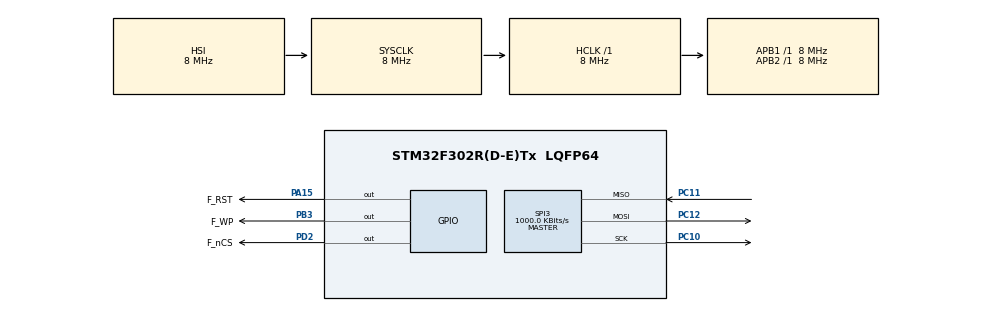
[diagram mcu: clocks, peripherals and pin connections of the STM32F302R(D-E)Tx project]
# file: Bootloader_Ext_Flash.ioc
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Mcu.Family=STM32F3
Mcu.Name=STM32F302R(D-E)Tx
Mcu.Package=LQFP64
NVIC.PriorityGroup=NVIC_PRIORITYGROUP_4
PA15.GPIO_Label=F_RST
PA15.Signal=GPIO_Output
PB3.GPIO_Label=F_WP
PB3.Signal=GPIO_Output
PC10.Mode=Full_Duplex_Master
PC10.Signal=SPI3_SCK
PC11.Mode=Full_Duplex_Master
PC11.Signal=SPI3_MISO
PC12.Mode=Full_Duplex_Master
PC12.Signal=SPI3_MOSI
PD2.GPIO_Label=F_nCS
PD2.Signal=GPIO_Output
ProjectManager.HeapSize=0x200
ProjectManager.StackSize=0x800
ProjectManager.TargetToolchain=STM32CubeIDE
RCC.AHBFreq_Value=8000000
RCC.APB1Freq_Value=8000000
RCC.APB2Freq_Value=8000000
RCC.CortexFreq_Value=8000000
RCC.HSE_VALUE=8000000
RCC.HSI_VALUE=8000000
RCC.LSE_VALUE=32768
RCC.SYSCLKFreq_VALUE=8000000
RCC.USBFreq_Value=16000000
SPI3.BaudRatePrescaler=SPI_BAUDRATEPRESCALER_8
SPI3.CalculateBaudRate=1000.0 KBits/s
SPI3.DataSize=SPI_DATASIZE_8BIT
SPI3.Direction=SPI_DIRECTION_2LINES
SPI3.Mode=SPI_MODE_MASTER
SPI3.VirtualType=VM_MASTER
board=custom

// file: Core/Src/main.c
/* USER CODE BEGIN Header */
/**
  ******************************************************************************
  * @file           : main.c
  * @brief          : Main program body
  ******************************************************************************
  * @attention
  *
  * Copyright (c) 2024 STMicroelectronics.
  * All rights reserved.
  *
  * This software is licensed under terms that can be found in the LICENSE file
  * in the root directory of this software component.
  * If no LICENSE file comes with this software, it is provided AS-IS.
  *
  ******************************************************************************
  */
/* USER CODE END Header */
#include "main.h"
#include "ext_flash_w25q64.h"
#include "int_flash.h"

SPI_HandleTypeDef hspi3;

/* USER CODE BEGIN PV */
unsigned char userData[] ={
		 0x48,0x45,0x4C,0xAA,0x5F,0x57,0x4F,0x52,0x4C,0x44,0xFF,0x84,0x0A
		,0x48,0x45,0x4C,0x4C,0x5F,0x57,0x4F,0x52,0x4C,0x44,0x00,0x83,0x0A
		,0x48,0x45,0x4C,0x4C,0x5F,0x57,0x4F,0x52,0x4C,0x44,0x00,0x83,0x0A
		,0x48,0x45,0x4C,0x4C,0x5F,0x57,0x4F,0x52,0x4C,0x44,0x01,0x84,0x0A
		,0x48,0x45,0x4C,0x4C,0x5F,0x57,0x4F,0x52,0x4C,0x44,0x00,0x83,0x0A
		,0x48,0x45,0x4C,0x4C,0x5F,0x57,0x4F,0x52,0x4C,0x44,0x00,0x82,0x0A
		,0x48,0x45,0x4C,0x4C,0x5F,0x57,0x4F,0x52,0x4C,0x44,0x01,0x83,0x0A
		,0x48,0x45,0x4C,0x4C,0x5F,0x57,0x4F,0x52,0x4C,0x44,0xFF,0x82,0x0A
		,0x48,0x45,0x4C,0x4C,0x5F,0x57,0x4F,0x52,0x4C,0x44,0x00,0x83,0x0A
		,0x48,0x45,0x4C,0x4C,0x5F,0x57,0x4F,0x52,0x4C,0x44,0x00,0x82,0x0A
		,0x48,0x45,0x4C,0x4C,0x5F,0x57,0x4F,0x52,0x4C,0x44,0x01,0x81,0x0A
		,0x48,0x45,0x4C,0x4C,0x5F,0x57,0x4F,0x52,0x4C,0x44,0x01,0x82,0x0A
		,0x48,0x45,0x4C,0x4C,0x5F,0x57,0x4F,0x52,0x4C,0x44,0x01,0x83,0x0A
		,0x48,0x45,0x4C,0x4C,0x5F,0x57,0x4F,0x52,0x4C,0x44,0x01,0x82,0x0A
		,0x48,0x45,0x4C,0x4C,0x5F,0x57,0x4F,0x52,0x4C,0x44,0x00,0x83,0x0A
		,0x48,0x45,0x4C,0x4C,0x5F,0x57,0x4F,0x52,0x4C,0x44,0x01,0x83,0x0A
		,0x48,0x45,0x4C,0x4C,0x5F,0x57,0x4F,0x52,0x4C,0x44,0xFF,0x84,0x0A
		,0x48,0x45,0x4C,0x4C,0x5F,0x57,0x4F,0x52,0x4C,0x44,0x00,0x83,0x0A
		,0x48,0x45,0x4C,0x4C,0x5F,0x57,0x4F,0x52,0x4C,0x44,0x00,0x83,0x0A
		,0x48,0x45,0x4C,0x4C,0x5F,0x57,0x4F,0x52,0x4C,
};
//uint32_t 	readData[64] = {0};
//uint8_t 	readWord[4];

/* USER CODE END PV */

void SystemClock_Config(void);
static void MX_GPIO_Init(void);
static void MX_SPI3_Init(void);
/* USER CODE BEGIN PFP */
static void goto_application( void );
/* USER CODE END PFP */

/* USER CODE BEGIN 0 */
//void Init_SPI(void){
//	RCC->AHBENR = (0x0F << 20);			// ENABLE IOPORTS A,B,C,D
//	RCC->APB1ENR |= (1 << 15);			// ENABLE SPI3 MODULE CLOCK
//}
//
//void setPinMode(void){
//	// RESET PIN MODES
//	GPIOA->MODER &=  ~(3u << (2*15));	// CLEAR PA15
//	GPIOB->MODER &=  ~(3u << (2*3));	// CLEAR PB3
//	GPIOC->MODER &= ~((3u << (2*10))	// CLEAR PC10
//					 |(3u << (2*11))	// CLEAR PC11
//					 |(3u << (2*12)));	// CLEAR PC12
//	GPIOD->MODER &=  ~(3u << (2*2));	// CLEAR PD2
//
//	// CONFIGURE PIN MODES
//	GPIOA->MODER |=  (1u << (2*15));	// SET PA15 AS GPIO (F_RST)
//	GPIOB->MODER |=  (1u << (2*3));		// SET PB3 AS GPIO 	(F_WP)
//	GPIOC->MODER |= ((2u << (2*10))		// SET PC10 TO AF 	(CLK)
//					|(2u << (2*11))		// SET PC11 TO AF 	(MOSI)
//					|(2u << (2*12)));	// SET PC12 TO AF 	(MISO)
//	GPIOD->MODER |=  (1u << (2*2));		// SET PD2 AS GPIO 	(F_nCS)
//}
unsigned char deviceIdRxData[2];

void convertToWord(uint8_t* readWordPtr,uint32_t* readWordFromExtFlashPtr);
void convertToWord(uint8_t* readWordPtr,uint32_t* readWordFromExtFlashPtr){
	for(uint8_t i = 4; i != 0; i--){
		*readWordFromExtFlashPtr = (*readWordFromExtFlashPtr<<8) | readWordPtr[i-1];
	}
}

/* USER CODE END 0 */

int main(void)
{
  /* USER CODE BEGIN 1 */
	uint32_t readData[64] 			= {0};
	uint32_t extFlashReadAddress 	= FLASH_PAGE0_BASE_ADDRESS;
	uint32_t intFlashWriteAddress 	= 0x50000;
	uint32_t extFlashWriteAddress 	= 0x0;
	uint8_t  DataFlagReadBack 		= 0;
	uint8_t device_Id[2];
//	unsigned char statusByte=0;
//	unsigned char readByte = 0;
  /* USER CODE END 1 */

  /* MCU Configuration--------------------------------------------------------*/

  /* Reset of all peripherals, Initializes the Flash interface and the Systick. */
  HAL_Init();

  /* Configure the system clock */
  SystemClock_Config();

  /* Initialize all configured peripherals */
  MX_GPIO_Init();
  MX_SPI3_Init();
  /* USER CODE BEGIN 2 */

//  HAL_Delay(10000); // Just wait 10 secbefore proceeding to Bootloader

  extFlashInit();

  SPI_FLASH_getDeviceId(device_Id);

  extFlashSendCommand(ENABLE_RESET);
  extFlashSendCommand(RESET_DEVICE);
  extFlashSendCommand(GLOBAL_UNLOCK);
  /* USER CODE END 2 */

  /* Infinite loop */
  /* USER CODE BEGIN WHILE */
  extFlashErase(BLOCK_ERASE_64KB, FLASH_PAGE0_BASE_ADDRESS);
  extFlashErase(BLOCK_ERASE_64KB, FLASH_PAGE1_BASE_ADDRESS);
  extFlashErase(SECTOR_ERASE_4KB, FLASH_FLAG_SAVE_ADDRESS);

  extFlashWriteAddress = FLASH_PAGE0_BASE_ADDRESS;

  for(uint8_t i = 0; i < 4; i++){
	  extFlashSendCommand(0x06);	// enable write
	  extFlashPageWrite(extFlashWriteAddress, userData, (sizeof(userData)));
	  extFlashWriteAddress += (sizeof(userData));
  }
  uint8_t dummyFlagData = 0xAA;
  extFlashPageWrite(FLASH_FLAG_SAVE_ADDRESS, &dummyFlagData, (sizeof(dummyFlagData)));
  extFlashWriteAddress = FLASH_FLAG_SAVE_ADDRESS;
  extFlashPageRead(FLASH_FLAG_SAVE_ADDRESS,&DataFlagReadBack, 1);
  if(DataFlagReadBack == 0xAA){
	  extFlashReadAddress = FLASH_PAGE0_BASE_ADDRESS;
	  for(uint8_t i=0; i < 64; i++){
		  extFlashPageRead(extFlashReadAddress,(uint8_t*)&readData[i], 4);
		  extFlashReadAddress += 4;
	  }
//	  intFlashWrite(intFlashWriteAddress, readData, 64);
//	  intFlashWriteAddress += 256;
	  clearBuffer((uint8_t*)readData, 256);

	  for(uint8_t i=0; i < 64; i++){
		  extFlashPageRead(extFlashReadAddress,(uint8_t*)&readData[i], 4);
		  extFlashReadAddress += 4;
	  }
//	  intFlashWrite(intFlashWriteAddress, readData, 64);
//	  intFlashWriteAddress += 256;
	  clearBuffer((uint8_t*)readData, 256);

	  for(uint8_t i=0; i < 64; i++){
		  extFlashPageRead(extFlashReadAddress,(uint8_t*)&readData[i], 4);
		  extFlashReadAddress += 4;
	  }
//	  intFlashWrite(intFlashWriteAddress, readData, 64);
//	  intFlashWriteAddress += 256;
  }
  while (1)
  {
	  for(unsigned char i = 0; i<=20; i++ ){
		  HAL_Delay(100);

	  }
	  	  goto_application();
    /* USER CODE END WHILE */

  }
}

void SystemClock_Config(void)
{
  RCC_OscInitTypeDef RCC_OscInitStruct = {0};
  RCC_ClkInitTypeDef RCC_ClkInitStruct = {0};

  /** Initializes the RCC Oscillators according to the specified parameters
  * in the RCC_OscInitTypeDef structure.
  */
  RCC_OscInitStruct.OscillatorType = RCC_OSCILLATORTYPE_HSI;
  RCC_OscInitStruct.HSIState = RCC_HSI_ON;
  RCC_OscInitStruct.HSICalibrationValue = RCC_HSICALIBRATION_DEFAULT;
  RCC_OscInitStruct.PLL.PLLState = RCC_PLL_NONE;
  if (HAL_RCC_OscConfig(&RCC_OscInitStruct) != HAL_OK)
  {
    Error_Handler();
  }

  /** Initializes the CPU, AHB and APB buses clocks
  */
  RCC_ClkInitStruct.ClockType = RCC_CLOCKTYPE_HCLK|RCC_CLOCKTYPE_SYSCLK
                              |RCC_CLOCKTYPE_PCLK1|RCC_CLOCKTYPE_PCLK2;
  RCC_ClkInitStruct.SYSCLKSource = RCC_SYSCLKSOURCE_HSI;
  RCC_ClkInitStruct.AHBCLKDivider = RCC_SYSCLK_DIV1;
  RCC_ClkInitStruct.APB1CLKDivider = RCC_HCLK_DIV1;
  RCC_ClkInitStruct.APB2CLKDivider = RCC_HCLK_DIV1;

  if (HAL_RCC_ClockConfig(&RCC_ClkInitStruct, FLASH_LATENCY_0) != HAL_OK)
  {
    Error_Handler();
  }
}

static void MX_SPI3_Init(void)
{

  /* SPI3 parameter configuration*/
  hspi3.Instance = SPI3;
  hspi3.Init.Mode = SPI_MODE_MASTER;
  hspi3.Init.Direction = SPI_DIRECTION_2LINES;
  hspi3.Init.DataSize = SPI_DATASIZE_8BIT;
  hspi3.Init.CLKPolarity = SPI_POLARITY_LOW;
  hspi3.Init.CLKPhase = SPI_PHASE_1EDGE;
  hspi3.Init.NSS = SPI_NSS_SOFT;
  hspi3.Init.BaudRatePrescaler = SPI_BAUDRATEPRESCALER_8;
  hspi3.Init.FirstBit = SPI_FIRSTBIT_MSB;
  hspi3.Init.TIMode = SPI_TIMODE_DISABLE;
  hspi3.Init.CRCCalculation = SPI_CRCCALCULATION_DISABLE;
  hspi3.Init.CRCPolynomial = 7;
  hspi3.Init.CRCLength = SPI_CRC_LENGTH_DATASIZE;
  hspi3.Init.NSSPMode = SPI_NSS_PULSE_ENABLE;
  if (HAL_SPI_Init(&hspi3) != HAL_OK)
  {
    Error_Handler();
  }

}

static void MX_GPIO_Init(void)
{
  GPIO_InitTypeDef GPIO_InitStruct = {0};

  /* GPIO Ports Clock Enable */
  __HAL_RCC_GPIOA_CLK_ENABLE();
  __HAL_RCC_GPIOC_CLK_ENABLE();
  __HAL_RCC_GPIOD_CLK_ENABLE();
  __HAL_RCC_GPIOB_CLK_ENABLE();

  /*Configure GPIO pin Output Level */
  HAL_GPIO_WritePin(F_RST_GPIO_Port, F_RST_Pin, GPIO_PIN_RESET);

  /*Configure GPIO pin Output Level */
  HAL_GPIO_WritePin(F_nCS_GPIO_Port, F_nCS_Pin, GPIO_PIN_RESET);

  /*Configure GPIO pin Output Level */
  HAL_GPIO_WritePin(F_WP_GPIO_Port, F_WP_Pin, GPIO_PIN_RESET);

  /*Configure GPIO pin : F_RST_Pin */
  GPIO_InitStruct.Pin = F_RST_Pin;
  GPIO_InitStruct.Mode = GPIO_MODE_OUTPUT_PP;
  GPIO_InitStruct.Pull = GPIO_NOPULL;
  GPIO_InitStruct.Speed = GPIO_SPEED_FREQ_LOW;
  HAL_GPIO_Init(F_RST_GPIO_Port, &GPIO_InitStruct);

  /*Configure GPIO pin : F_nCS_Pin */
  GPIO_InitStruct.Pin = F_nCS_Pin;
  GPIO_InitStruct.Mode = GPIO_MODE_OUTPUT_PP;
  GPIO_InitStruct.Pull = GPIO_NOPULL;
  GPIO_InitStruct.Speed = GPIO_SPEED_FREQ_LOW;
  HAL_GPIO_Init(F_nCS_GPIO_Port, &GPIO_InitStruct);

  /*Configure GPIO pin : F_WP_Pin */
  GPIO_InitStruct.Pin = F_WP_Pin;
  GPIO_InitStruct.Mode = GPIO_MODE_OUTPUT_PP;
  GPIO_InitStruct.Pull = GPIO_NOPULL;
  GPIO_InitStruct.Speed = GPIO_SPEED_FREQ_LOW;
  HAL_GPIO_Init(F_WP_GPIO_Port, &GPIO_InitStruct);

}

/* USER CODE BEGIN 4 */
static void goto_application( void )
{
//  printf("Going to Jump to Application...\n");
  void (*app_reset_handler)(void) = (void*)(*((volatile uint32_t*)(0x08050000 + 4U)));
  app_reset_handler();
}
/* USER CODE END 4 */

void Error_Handler(void)
{
  __disable_irq();
  while (1)
  {
  }
}
